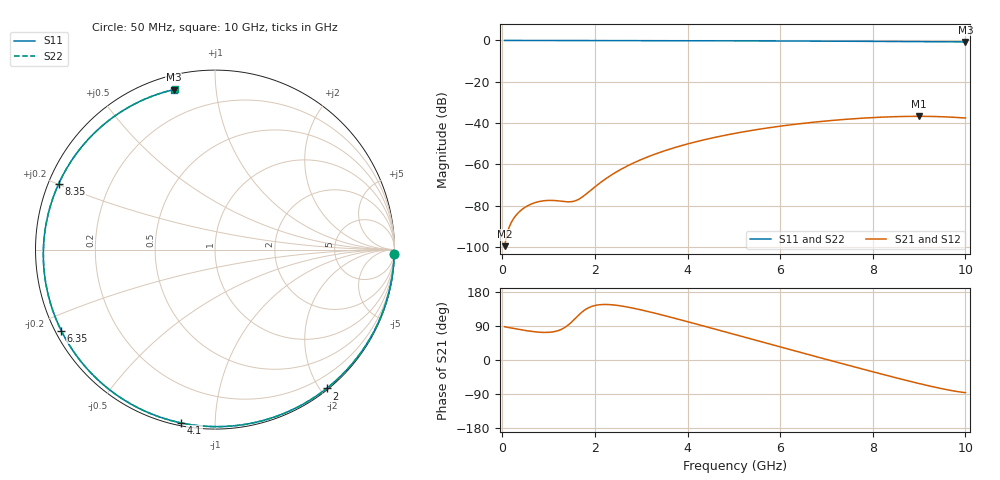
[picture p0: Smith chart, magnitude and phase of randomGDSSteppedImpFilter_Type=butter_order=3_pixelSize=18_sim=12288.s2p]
! freq	dB(S11)	phase(S11)	dB(S12)	phase(S12)
!  dB(S21)	phase(S21)	dB(S22)	phase(S22)
!S-par simulation data
#  GHz  S  DB  R 50
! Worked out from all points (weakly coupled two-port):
!   200 points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, 50 MHz to 10 GHz, reference 50 ohm
!   highest |S21| = -36.75 dB at 9 GHz (marker M1); lowest = -99.7 dB at 50 MHz (marker M2)
!   lowest |S11| = -0.7 dB at 10 GHz (marker M3), VSWR 24.09, Z = 3.32 + j38.6 ohm
!   |S11| at or under -10 dB: nowhere
!   |S22| runs from -0.7 to 0.0 dB; largest |S21 - S12| = 0
!   S11 on the Smith chart (normalised r, x): 50 MHz: 3, -90; 2 GHz: 0.02, -2.09; 4.1 GHz: 0.01, -0.82; 6.35 GHz: 0.02, -0.25; 8.35 GHz: 0.03, +0.20; 10 GHz: 0.07, +0.77
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0.05  -0.01 -1.3  -99.65 87.8  -99.65 87.8  -0.01 -1.3
0.55  -0.02 -14.3  -80.05 76.9  -80.05 76.9  -0.02 -14.3
0.75  -0.02 -19.5  -78.29 73.9  -78.29 73.9  -0.02 -19.5
0.95  -0.03 -24.7  -77.54 72.8  -77.54 72.8  -0.03 -24.7
1.5  -0.05 -38.7  -78.09 100.6  -78.09 100.6  -0.05 -38.7
1.6  -0.05 -41.2  -77.48 112.8  -77.48 112.8  -0.05 -41.2
1.75  -0.06 -45.0  -75.46 129.3  -75.46 129.3  -0.06 -45.0
2  -0.06 -51.2  -70.94 143.8  -70.94 143.8  -0.06 -51.2
2.3  -0.07 -58.6  -65.99 146.3  -65.99 146.3  -0.07 -58.6
2.6  -0.08 -65.9  -61.98 142.0  -61.98 142.0  -0.08 -65.9
2.95  -0.10 -74.3  -58.18 133.5  -58.18 133.5  -0.10 -74.3
3.4  -0.11 -84.9  -54.25 120.3  -54.25 120.3  -0.11 -84.9
4.1  -0.14 -101.0  -49.55 97.9  -49.55 97.9  -0.14 -101.1
5.05  -0.19 -122.6  -44.90 66.3  -44.90 66.3  -0.19 -122.7
5.7  -0.23 -137.3  -42.48 44.6  -42.48 44.6  -0.23 -137.4
6.35  -0.28 -152.3  -40.54 23.0  -40.54 23.0  -0.28 -152.4
6.7  -0.31 -160.5  -39.66 11.4  -39.66 11.4  -0.31 -160.6
7.55  -0.40 178.6  -37.99 -16.5  -37.99 -16.5  -0.40 178.4
8.35  -0.49 157.1  -37.02 -42.2  -37.02 -42.2  -0.49 156.8
9  -0.58 137.9  -36.75 -62.1  -36.75 -62.1  -0.58 137.5
9.55  -0.66 120.1  -37.00 -77.2  -37.00 -77.2  -0.66 119.7
10  -0.72 104.5  -37.58 -86.3  -37.58 -86.3  -0.72 104.0
